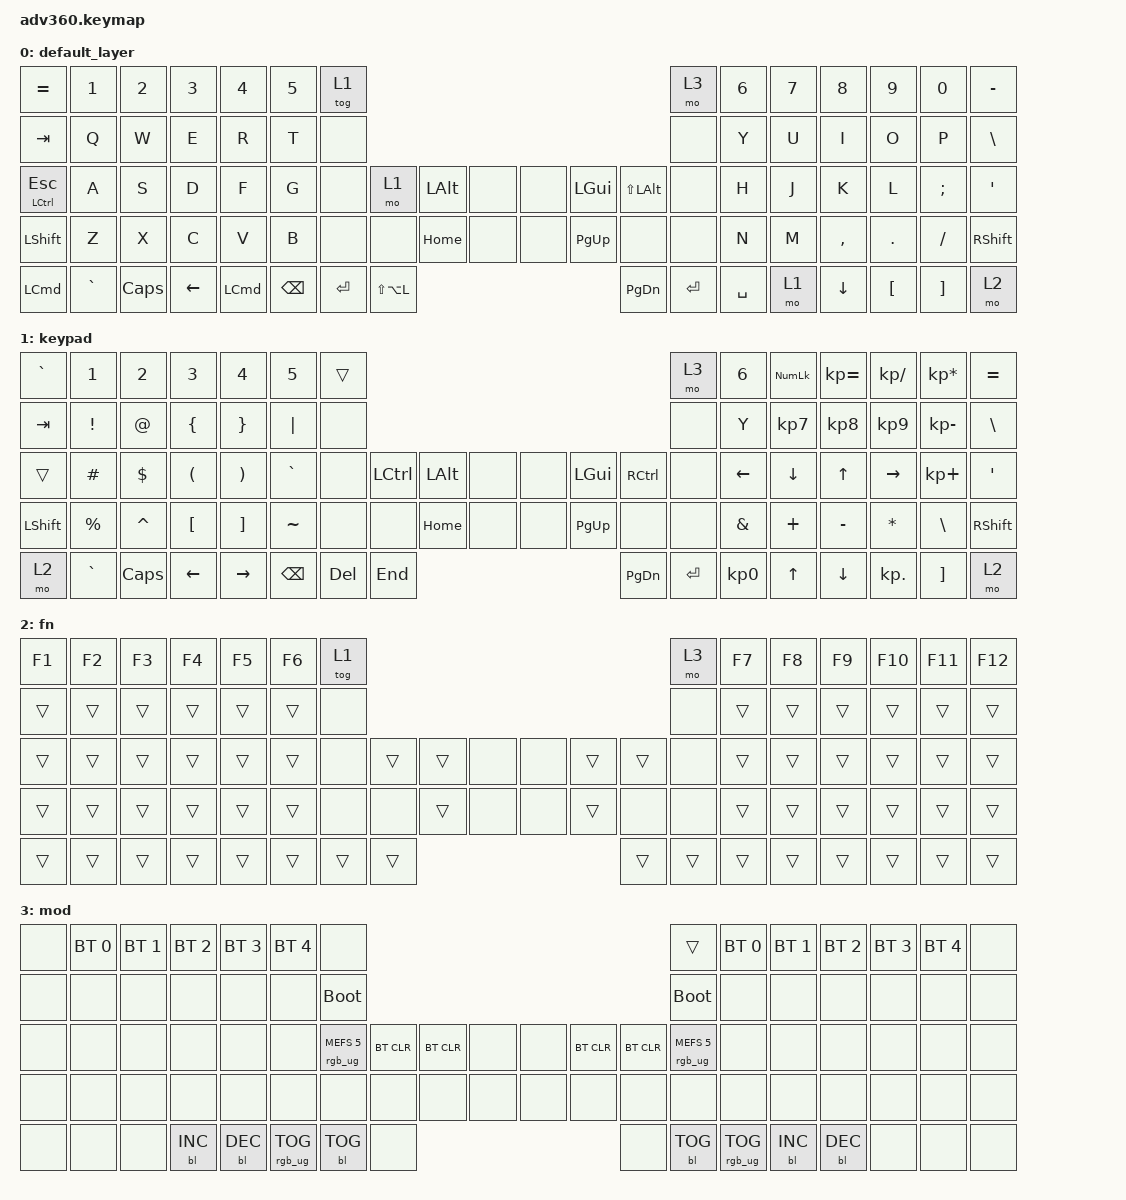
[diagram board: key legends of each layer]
#include <behaviors.dtsi>
#include <dt-bindings/zmk/keys.h>
#include <dt-bindings/zmk/bt.h>
#include <dt-bindings/zmk/rgb.h>
#include <dt-bindings/zmk/backlight.h>

/ {
    behaviors {
        #include "macros.dtsi"

        hm: homerow_mods {
            compatible = "zmk,behavior-hold-tap";
            label = "HOMEROW_MODS";
            #binding-cells = <2>;
            tapping-term-ms = <200>;
            quick_tap_ms = <175>;
            flavor = "tap-preferred";
            bindings =
                <&kp>,
                <&kp>;
        };
    };

    keymap {
        compatible = "zmk,keymap";

        default_layer {
            bindings = <
           &kp EQUAL     &kp N1    &kp N2    &kp N3            &kp N4  &kp N5    &tog 1                                                                           &mo 3  &kp N6  &kp N7     &kp N8    &kp N9    &kp N0  &kp MINUS
             &kp TAB      &kp Q     &kp W     &kp E             &kp R   &kp T     &none                                                                           &none   &kp Y   &kp U      &kp I     &kp O     &kp P   &kp BSLH
&mt LEFT_CONTROL ESC      &kp A     &kp S     &kp D             &kp F   &kp G     &none      &mo 1       &kp LALT  &none  &none   &kp LGUI  &kp LS(LEFT_ALT)      &none   &kp H   &kp J      &kp K     &kp L  &kp SEMI    &kp SQT
           &kp LSHFT      &kp Z     &kp X     &kp C             &kp V   &kp B     &none      &none       &kp HOME  &none  &none  &kp PG_UP             &none      &none   &kp N   &kp M  &kp COMMA   &kp DOT  &kp FSLH  &kp RSHFT
    &kp LEFT_COMMAND  &kp GRAVE  &kp CAPS  &kp LEFT  &kp LEFT_COMMAND          &kp BSPC  &kp ENTER  &kp LS(LA(L))                &kp PG_DN         &kp ENTER  &kp SPACE           &mo 1   &kp DOWN  &kp LBKT  &kp RBKT      &mo 2
            >;
        };

        keypad {
            bindings = <
&kp GRAVE       &kp N1     &kp N2            &kp N3     &kp N4     &kp N5    &trans                                                               &mo 3         &kp N6  &kp KP_NUM  &kp KP_EQUAL  &kp KP_DIVIDE  &kp KP_MULTIPLY  &kp EQUAL
  &kp TAB     &kp EXCL     &kp AT          &kp LBRC   &kp RBRC   &kp PIPE     &none                                                               &none          &kp Y   &kp KP_N7     &kp KP_N8      &kp KP_N9     &kp KP_MINUS   &kp BSLH
   &trans    &kp POUND   &kp DLLR          &kp LPAR   &kp RPAR  &kp GRAVE     &none  &kp LCTRL  &kp LALT  &none  &none   &kp LGUI  &kp RCTRL      &none       &kp LEFT    &kp DOWN        &kp UP      &kp RIGHT      &kp KP_PLUS    &kp SQT
&kp LSHFT  &kp PERCENT  &kp CARET  &kp LEFT_BRACKET   &kp RBKT  &kp TILDE     &none      &none  &kp HOME  &none  &none  &kp PG_UP      &none      &none  &kp AMPERSAND    &kp PLUS     &kp MINUS       &kp STAR    &kp BACKSLASH  &kp RSHFT
    &mo 2    &kp GRAVE   &kp CAPS          &kp LEFT  &kp RIGHT             &kp BSPC    &kp DEL   &kp END                &kp PG_DN  &kp ENTER  &kp KP_N0                     &kp UP      &kp DOWN     &kp KP_DOT         &kp RBKT      &mo 2
            >;
        };

        fn {
            bindings = <
&kp F1  &kp F2  &kp F3  &kp F4  &kp F5  &kp F6  &tog 1                                                 &mo 3  &kp F7  &kp F8  &kp F9  &kp F10  &kp F11  &kp F12
&trans  &trans  &trans  &trans  &trans  &trans   &none                                                 &none  &trans  &trans  &trans   &trans   &trans   &trans
&trans  &trans  &trans  &trans  &trans  &trans   &none  &trans  &trans  &none  &none  &trans  &trans   &none  &trans  &trans  &trans   &trans   &trans   &trans
&trans  &trans  &trans  &trans  &trans  &trans   &none   &none  &trans  &none  &none  &trans   &none   &none  &trans  &trans  &trans   &trans   &trans   &trans
&trans  &trans  &trans  &trans  &trans          &trans  &trans  &trans                &trans  &trans  &trans          &trans  &trans   &trans   &trans   &trans
            >;
        };

        mod {
            bindings = <
&none  &bt BT_SEL 0  &bt BT_SEL 1  &bt BT_SEL 2  &bt BT_SEL 3  &bt BT_SEL 4                   &none                                                                                &trans  &bt BT_SEL 0  &bt BT_SEL 1  &bt BT_SEL 2  &bt BT_SEL 3  &bt BT_SEL 4  &none
&none         &none         &none         &none         &none         &none             &bootloader                                                                           &bootloader         &none         &none         &none         &none         &none  &none
&none         &none         &none         &none         &none         &none  &rgb_ug RGB_MEFS_CMD 5  &bt BT_CLR  &bt BT_CLR  &none  &none  &bt BT_CLR  &bt BT_CLR  &rgb_ug RGB_MEFS_CMD 5         &none         &none         &none         &none         &none  &none
&none         &none         &none         &none         &none         &none                   &none       &none       &none  &none  &none       &none       &none                   &none         &none         &none         &none         &none         &none  &none
&none         &none         &none    &bl BL_INC    &bl BL_DEC                       &rgb_ug RGB_TOG  &bl BL_TOG       &none                     &none  &bl BL_TOG         &rgb_ug RGB_TOG                  &bl BL_INC    &bl BL_DEC         &none         &none  &none
            >;
        };
    };
};
